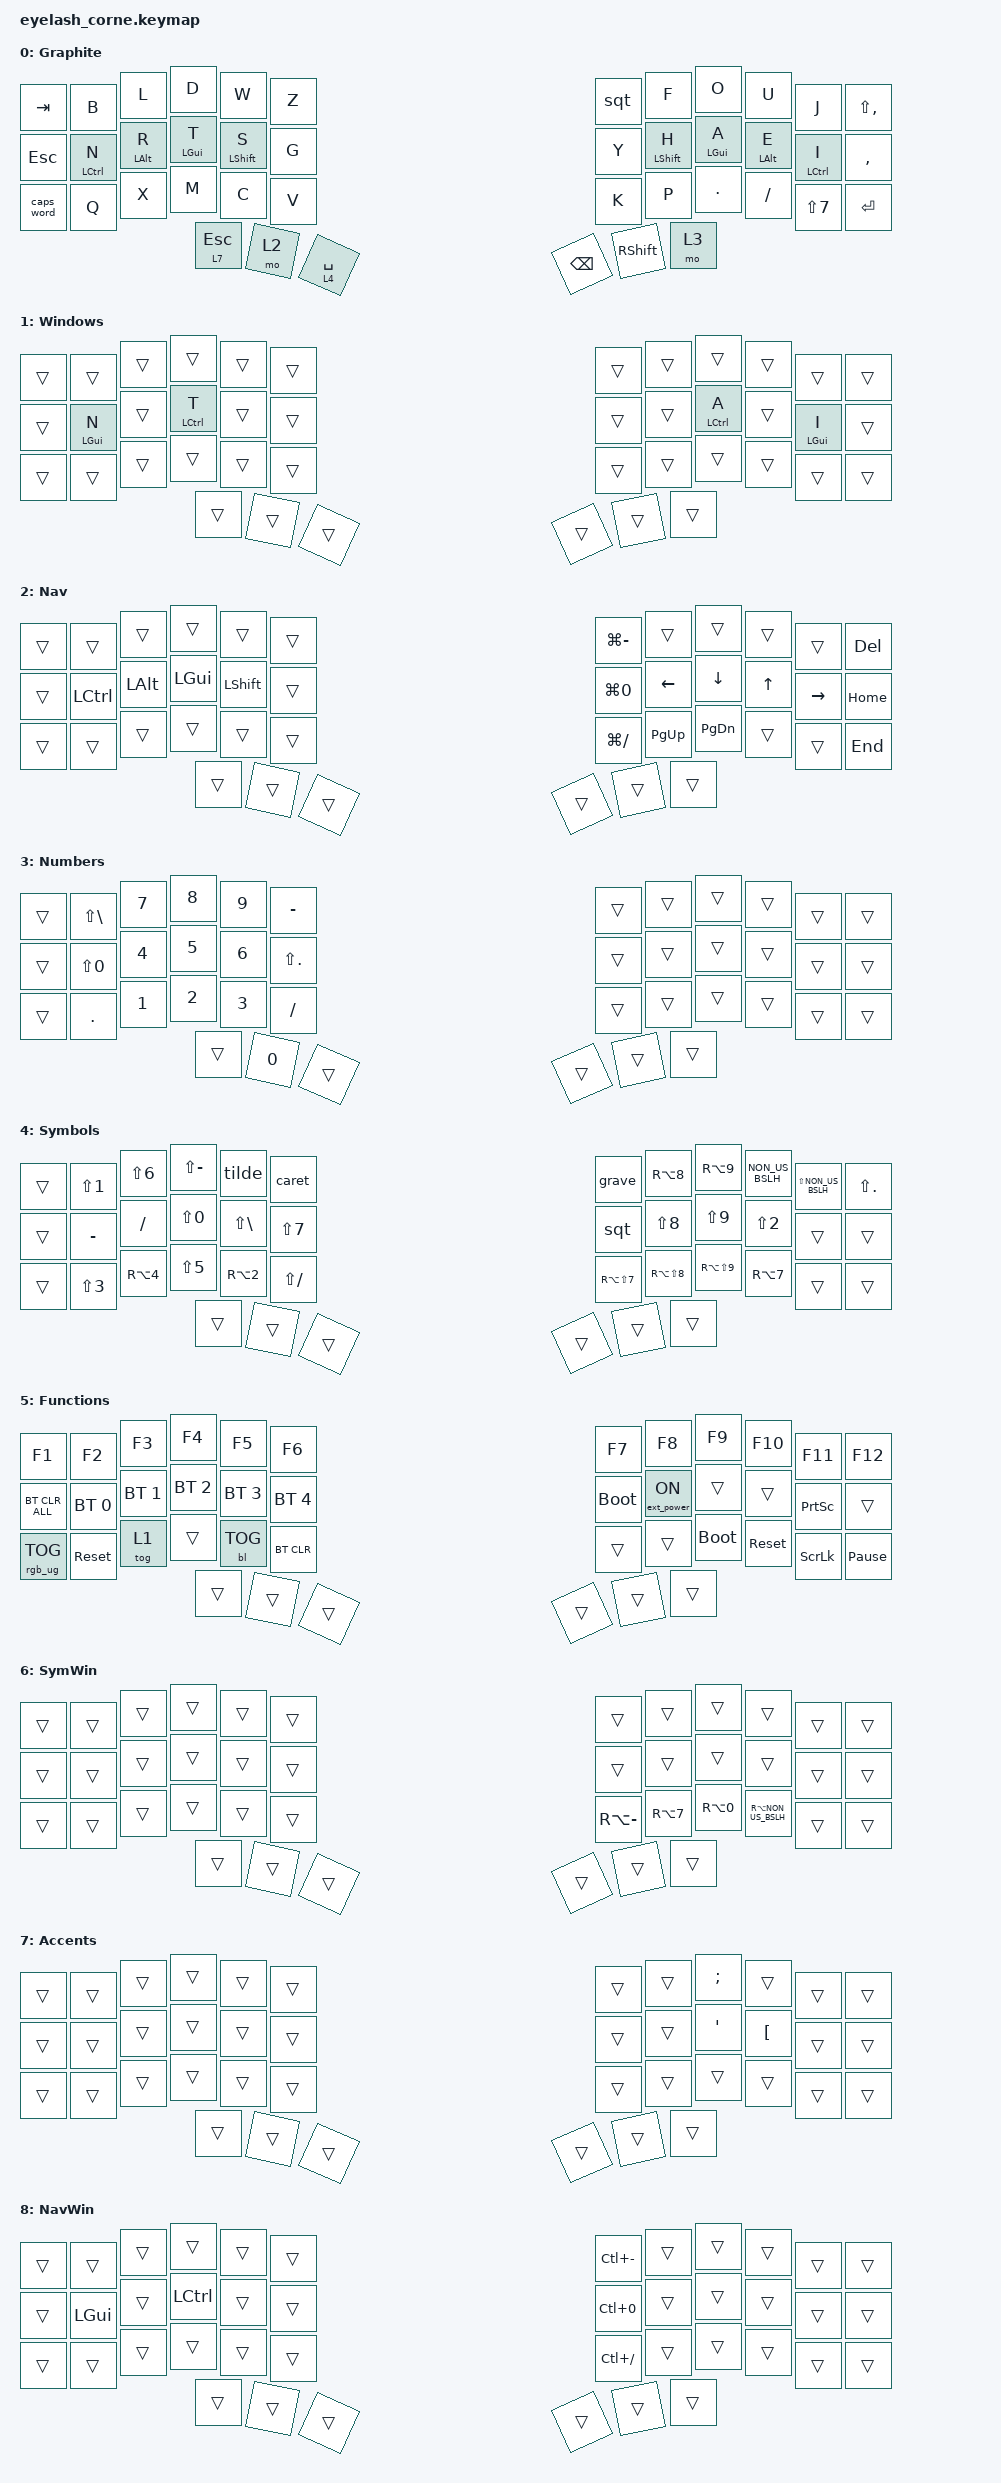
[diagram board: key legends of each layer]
#include <behaviors.dtsi>
#include <dt-bindings/zmk/backlight.h>
#include <dt-bindings/zmk/bt.h>
#include <dt-bindings/zmk/ext_power.h>
#include <dt-bindings/zmk/keys.h>
#include <dt-bindings/zmk/rgb.h>

/*
 * Layers (WIN must stay at 1: it sits right above BASE so every other layer overrides it)
 *   0 BASE      Graphite alphas + home-row mods (macOS mods by default)
 *   1 WIN       Windows flag: swaps Ctrl/GUI home-row mods  <- toggle with &tog 1 on FUN
 *   2 NAV       vim-style arrows (<- v ^ ->) / Home End PgUp PgDn / zoom  <- hold left-mid thumb
 *   3 NUM       number pad (left hand)               <- hold right-outer thumb
 *   4 SYM       programming symbols (Swedish)        <- hold left-inner thumb (Space)
 *   5 FUN       F-keys / bluetooth / reset           <- hold NUM + SYM
 *   6 SYMWIN    Windows { } \ | overrides            <- auto-on when SYM + WIN
 *   7 ACC       a/o/e -> Swedish a-ring/a-uml/o-uml  <- hold left-outer thumb (tap = Esc)
 *   8 NAVWIN    Windows NAV mods + Ctrl zoom         <- auto-on when NAV + WIN
 *
 * Thumbs:  L: Esc/ACC  NAV  Space/SYM      R: Backspace  Shift  NUM
 * Home row mods (macOS): left N R T S = Ctrl Alt Cmd Shift, right H A E I = Shift Cmd Alt Ctrl.
 * Windows swaps Ctrl<->GUI so the shortcut modifier stays on the middle finger (T / A).
 *
 * OS keyboard layout = Swedish ISO (keep it on both macOS and Windows).
 * macOS is the default; hold NUM+SYM and tap the physical X key to toggle Windows mode.
 * The mode resets to macOS after a keyboard reboot.
 * The SYM layer emits the Swedish AltGr/Shift combos for programming symbols,
 * so no EurKEY is needed. { } \ | differ between Windows and macOS Swedish:
 * SYM holds the macOS values by default; the SYMWIN overlay fixes just those
 * four when Windows mode is toggled on.
 */

&soft_off { hold-time-ms = <2000>; };

// Keep Caps Word alive through the Swedish underscore (Shift+'-' key) for snake_case.
&caps_word { continue-list = <LS(FSLH) BACKSPACE DELETE>; };

/ {
    behaviors {
        // Left-hand home-row mods. Holds only fire when a RIGHT-hand key
        // (or right thumb) follows -> same-hand rolls always tap.

        hml: hml {
            compatible = "zmk,behavior-hold-tap";
            label = "HML";
            #binding-cells = <2>;
            bindings = <&kp>, <&kp>;

            flavor = "balanced";
            tapping-term-ms = <280>;
            quick-tap-ms = <175>;
            require-prior-idle-ms = <100>;
            hold-trigger-on-release;
            hold-trigger-key-positions = <6 7 8 9 10 11 18 19 20 21 22 23 30 31 32 33 34 35 39 40 41>;
        };

        // Right-hand home-row mods. Holds only fire when a LEFT-hand key
        // (or left thumb) follows.

        hmr: hmr {
            compatible = "zmk,behavior-hold-tap";
            label = "HMR";
            #binding-cells = <2>;
            bindings = <&kp>, <&kp>;

            flavor = "balanced";
            tapping-term-ms = <280>;
            quick-tap-ms = <175>;
            require-prior-idle-ms = <100>;
            hold-trigger-on-release;
            hold-trigger-key-positions = <0 1 2 3 4 5 12 13 14 15 16 17 24 25 26 27 28 29 36 37 38>;
        };

        // Layer-tap for the Space/Esc thumbs: hold = layer, tap = key.
        // Balanced (not the default tap-preferred) so a symbol pressed right after the
        // thumb reaches the layer instead of sending Space/Esc plus a plain letter.

        lt_bal: lt_bal {
            compatible = "zmk,behavior-hold-tap";
            label = "LT_BAL";
            #binding-cells = <2>;
            bindings = <&mo>, <&kp>;

            flavor = "balanced";
            tapping-term-ms = <200>;
            quick-tap-ms = <175>;
        };

        // Tap = ' , Shift = "  (Swedish: ' is BSLH, " is Shift+2)
        sqt: sqt {
            compatible = "zmk,behavior-mod-morph";
            label = "SQT_DQT";
            #binding-cells = <0>;
            bindings = <&kp BSLH>, <&kp N2>;
            mods = <(MOD_LSFT|MOD_RSFT)>;
            keep-mods = <(MOD_LSFT|MOD_RSFT)>;
        };

    };

    // Dead keys on Swedish: press the dead key, then SPACE, to emit a literal.
    // (Verified on both Windows and macOS.)

    macros {
        grave: grave {
            compatible = "zmk,behavior-macro";
            #binding-cells = <0>;
            wait-ms = <0>;
            tap-ms = <5>;
            bindings = <&kp LS(EQUAL) &kp SPACE>;
            label = "GRAVE";
        };

        tilde: tilde {
            compatible = "zmk,behavior-macro";
            #binding-cells = <0>;
            wait-ms = <0>;
            tap-ms = <5>;
            bindings = <&kp RA(RBKT) &kp SPACE>;
            label = "TILDE";
        };

        caret: caret {
            compatible = "zmk,behavior-macro";
            #binding-cells = <0>;
            wait-ms = <0>;
            tap-ms = <5>;
            bindings = <&kp LS(RBKT) &kp SPACE>;
            label = "CARET";
        };
    };

    combos {
        compatible = "zmk,combos";

        softoff {
            bindings = <&soft_off>;
            key-positions = <1 14 25>;
        };
    };

    conditional_layers {
        compatible = "zmk,conditional-layers";

        // Hold both inner thumbs (NUM + SYM) to reach the Functions layer.

        functions {
            if-layers = <3 4>;
            then-layer = <5>;
        };

        // When Win mode (1) is toggled on, holding SYM (4) brings up the
        // Windows bracket overrides (6) on top of the macOS-default symbol layer.

        sym_win {
            if-layers = <4 1>;
            then-layer = <6>;
        };

        // Same for NAV (2): Windows uses Ctrl for zoom and has Ctrl on the middle finger.

        nav_win {
            if-layers = <2 1>;
            then-layer = <8>;
        };
    };

    keymap {
        compatible = "zmk,keymap";

        base {
            display-name = "Graphite";
            bindings = <
&kp TAB     &kp B         &kp L        &kp D        &kp W         &kp Z  &sqt   &kp F         &kp O        &kp U        &kp J         &kp LS(COMMA)
&kp ESC     &hml LCTRL N  &hml LALT R  &hml LGUI T  &hml LSHFT S  &kp G  &kp Y  &hmr LSHFT H  &hmr LGUI A  &hmr LALT E  &hmr LCTRL I  &kp COMMA
&caps_word  &kp Q         &kp X        &kp M        &kp C         &kp V  &kp K  &kp P         &kp DOT      &kp FSLH     &kp LS(N7)    &kp ENTER
                                       &lt_bal 7 ESC  &mo 2         &lt_bal 4 SPACE  &kp BSPC  &kp RSHFT     &mo 3
            >;
        };

        winflag {
            display-name = "Windows";
            bindings = <
&trans  &trans       &trans  &trans        &trans  &trans  &trans  &trans  &trans        &trans  &trans       &trans
&trans  &hml LGUI N  &trans  &hml LCTRL T  &trans  &trans  &trans  &trans  &hmr LCTRL A  &trans  &hmr LGUI I  &trans
&trans  &trans       &trans  &trans        &trans  &trans  &trans  &trans  &trans        &trans  &trans       &trans
                             &trans        &trans  &trans  &trans  &trans  &trans
            >;
        };

        navigation {
            display-name = "Nav";
            bindings = <
&trans  &trans     &trans    &trans    &trans     &trans  &kp LG(MINUS)  &trans          &trans          &trans           &trans     &kp DELETE
&trans  &kp LCTRL  &kp LALT  &kp LGUI  &kp LSHFT  &trans  &kp LG(N0)     &kp LEFT_ARROW  &kp DOWN_ARROW  &kp UP_ARROW     &kp RIGHT_ARROW  &kp HOME
&trans  &trans     &trans    &trans    &trans     &trans  &kp LG(FSLH)   &kp PG_UP       &kp PG_DN       &trans           &trans     &kp END
                             &trans    &trans     &trans  &trans         &trans          &trans
            >;
        };

        numbers {
            display-name = "Numbers";
            bindings = <
&trans  &kp LS(BSLH)  &kp N7  &kp N8  &kp N9  &kp MINUS    &trans  &trans  &trans  &trans  &trans  &trans
&trans  &kp LS(N0)    &kp N4  &kp N5  &kp N6  &kp LS(DOT)  &trans  &trans  &trans  &trans  &trans  &trans
&trans  &kp DOT       &kp N1  &kp N2  &kp N3  &kp FSLH     &trans  &trans  &trans  &trans  &trans  &trans
                              &trans  &kp N0  &trans       &trans  &trans  &trans
            >;
        };

        symbols {
            display-name = "Symbols";
            bindings = <
&trans  &kp LS(N1)  &kp LS(N6)  &kp LS(MINUS)  &tilde        &caret        &grave          &kp RA(N8)      &kp RA(N9)      &kp NON_US_BSLH  &kp LS(NON_US_BSLH)  &kp LS(DOT)
&trans  &kp MINUS   &kp FSLH    &kp LS(N0)     &kp LS(BSLH)  &kp LS(N7)    &sqt            &kp LS(N8)      &kp LS(N9)      &kp LS(N2)      &trans               &trans
&trans  &kp LS(N3)  &kp RA(N4)  &kp LS(N5)     &kp RA(N2)    &kp LS(FSLH)  &kp RA(LS(N7))  &kp RA(LS(N8))  &kp RA(LS(N9))  &kp RA(N7)       &trans               &trans
                                &trans         &trans        &trans        &trans          &trans          &trans
            >;
        };

        functions {
            display-name = "Functions";
            bindings = <
&kp F1           &kp F2        &kp F3        &kp F4        &kp F5        &kp F6        &kp F7       &kp F8            &kp F9       &kp F10     &kp F11          &kp F12
&bt BT_CLR_ALL   &bt BT_SEL 0  &bt BT_SEL 1  &bt BT_SEL 2  &bt BT_SEL 3  &bt BT_SEL 4  &bootloader  &ext_power EP_ON  &trans       &trans      &kp PRINTSCREEN  &trans
&rgb_ug RGB_TOG  &sys_reset    &tog 1        &trans        &bl BL_TOG    &bt BT_CLR    &trans       &trans            &bootloader  &sys_reset  &kp SCROLLLOCK   &kp PAUSE_BREAK
                                             &trans        &trans        &trans        &trans       &trans            &trans
            >;
        };

        symwin {
            display-name = "SymWin";
            bindings = <
&trans  &trans  &trans  &trans  &trans  &trans  &trans         &trans      &trans      &trans               &trans  &trans
&trans  &trans  &trans  &trans  &trans  &trans  &trans         &trans      &trans      &trans               &trans  &trans
&trans  &trans  &trans  &trans  &trans  &trans  &kp RA(MINUS)  &kp RA(N7)  &kp RA(N0)  &kp RA(NON_US_BSLH)  &trans  &trans
                        &trans  &trans  &trans  &trans         &trans      &trans
            >;
        };

        accents {
            display-name = "Accents";
            bindings = <
&trans  &trans  &trans  &trans  &trans  &trans  &trans  &trans  &kp SEMI  &trans    &trans  &trans
&trans  &trans  &trans  &trans  &trans  &trans  &trans  &trans  &kp SQT   &kp LBKT  &trans  &trans
&trans  &trans  &trans  &trans  &trans  &trans  &trans  &trans  &trans    &trans    &trans  &trans
                        &trans  &trans  &trans  &trans  &trans  &trans
            >;
        };

        navwin {
            display-name = "NavWin";
            bindings = <
&trans  &trans    &trans  &trans     &trans  &trans  &kp LC(MINUS)  &trans  &trans  &trans  &trans  &trans
&trans  &kp LGUI  &trans  &kp LCTRL  &trans  &trans  &kp LC(N0)     &trans  &trans  &trans  &trans  &trans
&trans  &trans    &trans  &trans     &trans  &trans  &kp LC(FSLH)   &trans  &trans  &trans  &trans  &trans
                          &trans     &trans  &trans  &trans         &trans  &trans
            >;
        };
    };
};
